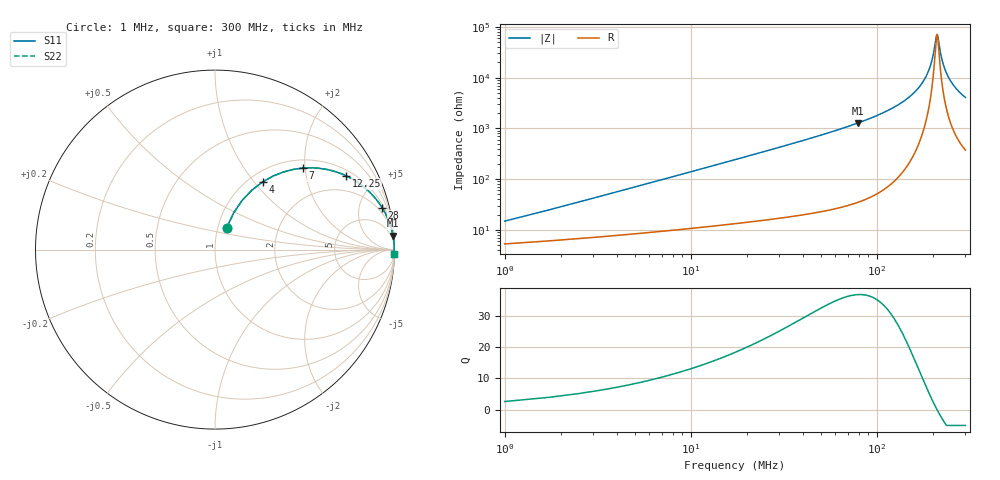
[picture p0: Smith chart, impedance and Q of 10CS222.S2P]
! Coilcraft 1008CS-222 Chip Inductor
! 02 July 2002
# MHZ S MA R 50
!Freq  MagS11  AngS11  MagS21  AngS21  MagS12  AngS12  MagS22  AngS22
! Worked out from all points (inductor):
!   400 points, 1 MHz to 300 MHz, reference 50 ohm
!   read as one part in series: L = 2.2 uH near 2.5 MHz
!   highest Q = 36.7 at 79.75 MHz (marker M1), where L = 2.57 uH
!   self-resonance near 211 MHz
!   S11 on the Smith chart (normalised r, x): 1 MHz: 1.11, +0.28; 4 MHz: 1.15, +1.11; 7 MHz: 1.19, +1.94; 12.25 MHz: 1.23, +3.40; 28 MHz: 1.33, +7.88; 300 MHz: 8, -81
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1  0.1393 61.7  0.9419 -7.5  0.9419 -7.5  0.1393 61.7
1.75  0.2293 63.1  0.9193 -12.8  0.9193 -12.8  0.2293 63.1
2.5  0.3139 61.1  0.8917 -17.9  0.8917 -17.9  0.3139 61.1
4  0.4612 54.9  0.8258 -27.2  0.8258 -27.2  0.4612 54.9
7  0.6662 43.0  0.6846 -41.5  0.6846 -41.5  0.6662 43.0
12.25  0.838 29.4  0.4921 -56.7  0.4921 -56.7  0.838 29.4
18.25  0.9144 21.0  0.3593 -65.9  0.3593 -65.9  0.9144 21.0
28  0.9599 14.1  0.2434 -73.6  0.2434 -73.6  0.9599 14.1
51.25  0.9874 7.5  0.1311 -80.7  0.1311 -80.7  0.9874 7.5
79.75  0.9949 4.4  0.07737 -84.0  0.07737 -84.0  0.9949 4.4
100.75  0.9969 3.2  0.0553 -85.2  0.0553 -85.2  0.9969 3.2
151  0.9985 1.3  0.02343 -85.7  0.02343 -85.7  0.9985 1.3
181.75  0.9987 0.6  0.01041 -82.5  0.01041 -82.5  0.9987 0.6
192.25  0.9987 0.4  0.0066 -78.3  0.0066 -78.3  0.9987 0.4
200.5  0.9987 0.2  0.003834 -69.4  0.003834 -69.4  0.9987 0.2
209.5  0.9986 0.0  0.001511 -23.0  0.001511 -23.0  0.9986 0.0
211.75  0.9986 -0.0  0.001411 5.6  0.001411 5.6  0.9986 -0.0
220.75  0.9985 -0.2  0.003322 63.7  0.003322 63.7  0.9985 -0.2
227.5  0.9985 -0.3  0.005264 73.0  0.005264 73.0  0.9985 -0.3
237.25  0.9984 -0.5  0.008076 78.2  0.008076 78.2  0.9984 -0.5
250.75  0.9982 -0.7  0.01186 81.0  0.01186 81.0  0.9982 -0.7
300  0.9975 -1.4  0.02448 83.3  0.02448 83.3  0.9975 -1.4
